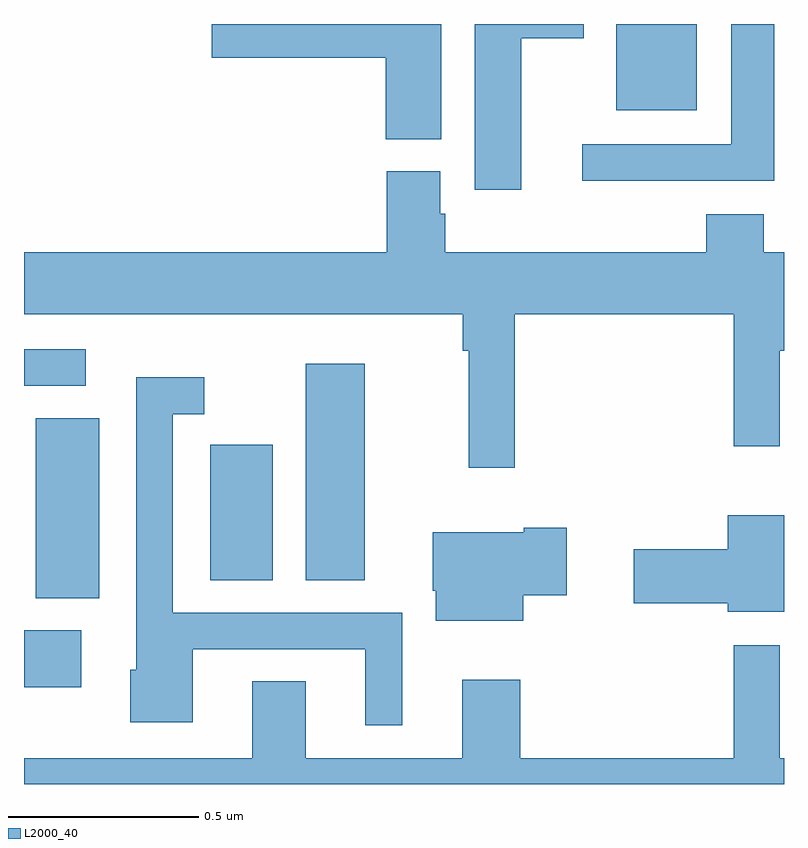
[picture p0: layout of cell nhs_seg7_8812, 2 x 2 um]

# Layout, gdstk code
import gdstk
lib = gdstk.Library(unit=1e-6, precision=1e-09)
def R(c, l, rs):  # rectangles x0, y0, x1, y1
    for r in rs: c.add(gdstk.rectangle(r[:2], r[2:], *l))
def P(c, l, *ps):  # polygons
    for p in ps: c.add(gdstk.Polygon(p, *l))
L2000_40 = (2000, 40)

nhs_seg7_8812 = lib.new_cell('nhs_seg7_8812')
R(nhs_seg7_8812, L2000_40, [(229,1046.255,229.15,1046.404), (229.031,1046.489,229.198,1046.963), (229.49,1046.536,229.654,1046.893), (229.742,1046.536,229.897,1047.106), (229,1047.048,229.162,1047.144), (230.558,1047.773,230.77,1048)])
P(nhs_seg7_8812, L2000_40, [(230.308,1047.962),(230.473,1047.962),(230.473,1048),(230.186,1048),(230.186,1047.564),(230.308,1047.564)],
  [(230.098,1048),(229.494,1048),(229.494,1047.911),(229.952,1047.911),(229.952,1047.697),(230.098,1047.697)],
  [(230.974,1048),(230.861,1048),(230.861,1047.684),(230.469,1047.684),(230.469,1047.587),(230.974,1047.587)],
  [(230.291,1047.236),(230.868,1047.236),(230.868,1046.889),(230.989,1046.889),(230.989,1047.14),(231,1047.14),(231,1047.4),(230.947,1047.4),(230.947,1047.499),(230.795,1047.499),(230.795,1047.4),(230.108,1047.4),(230.108,1047.501),(230.095,1047.501),(230.095,1047.612),(229.955,1047.612),(229.955,1047.4),(229,1047.4),(229,1047.236),(230.155,1047.236),(230.155,1047.14),(230.17,1047.14),(230.17,1046.832),(230.291,1046.832)],
  [(229.996,1046.451),(229.392,1046.451),(229.392,1046.973),(229.474,1046.973),(229.474,1047.07),(229.296,1047.07),(229.296,1046.301),(229.28,1046.301),(229.28,1046.162),(229.444,1046.162),(229.444,1046.355),(229.898,1046.355),(229.898,1046.154),(229.996,1046.154)],
  [(231,1046.707),(230.852,1046.707),(230.852,1046.618),(230.604,1046.618),(230.604,1046.476),(230.852,1046.476),(230.852,1046.453),(231,1046.453)],
  [(230.314,1046.497),(230.428,1046.497),(230.428,1046.675),(230.315,1046.675),(230.315,1046.662),(230.075,1046.662),(230.075,1046.508),(230.084,1046.508),(230.084,1046.429),(230.314,1046.429)],
  [(231,1046.068),(230.989,1046.068),(230.989,1046.365),(230.868,1046.365),(230.868,1046.068),(230.306,1046.068),(230.306,1046.275),(230.153,1046.275),(230.153,1046.068),(229.741,1046.068),(229.741,1046.27),(229.601,1046.27),(229.601,1046.068),(229,1046.068),(229,1046),(231,1046)])

lib.write_gds('nhs_seg7_8812.gds')
